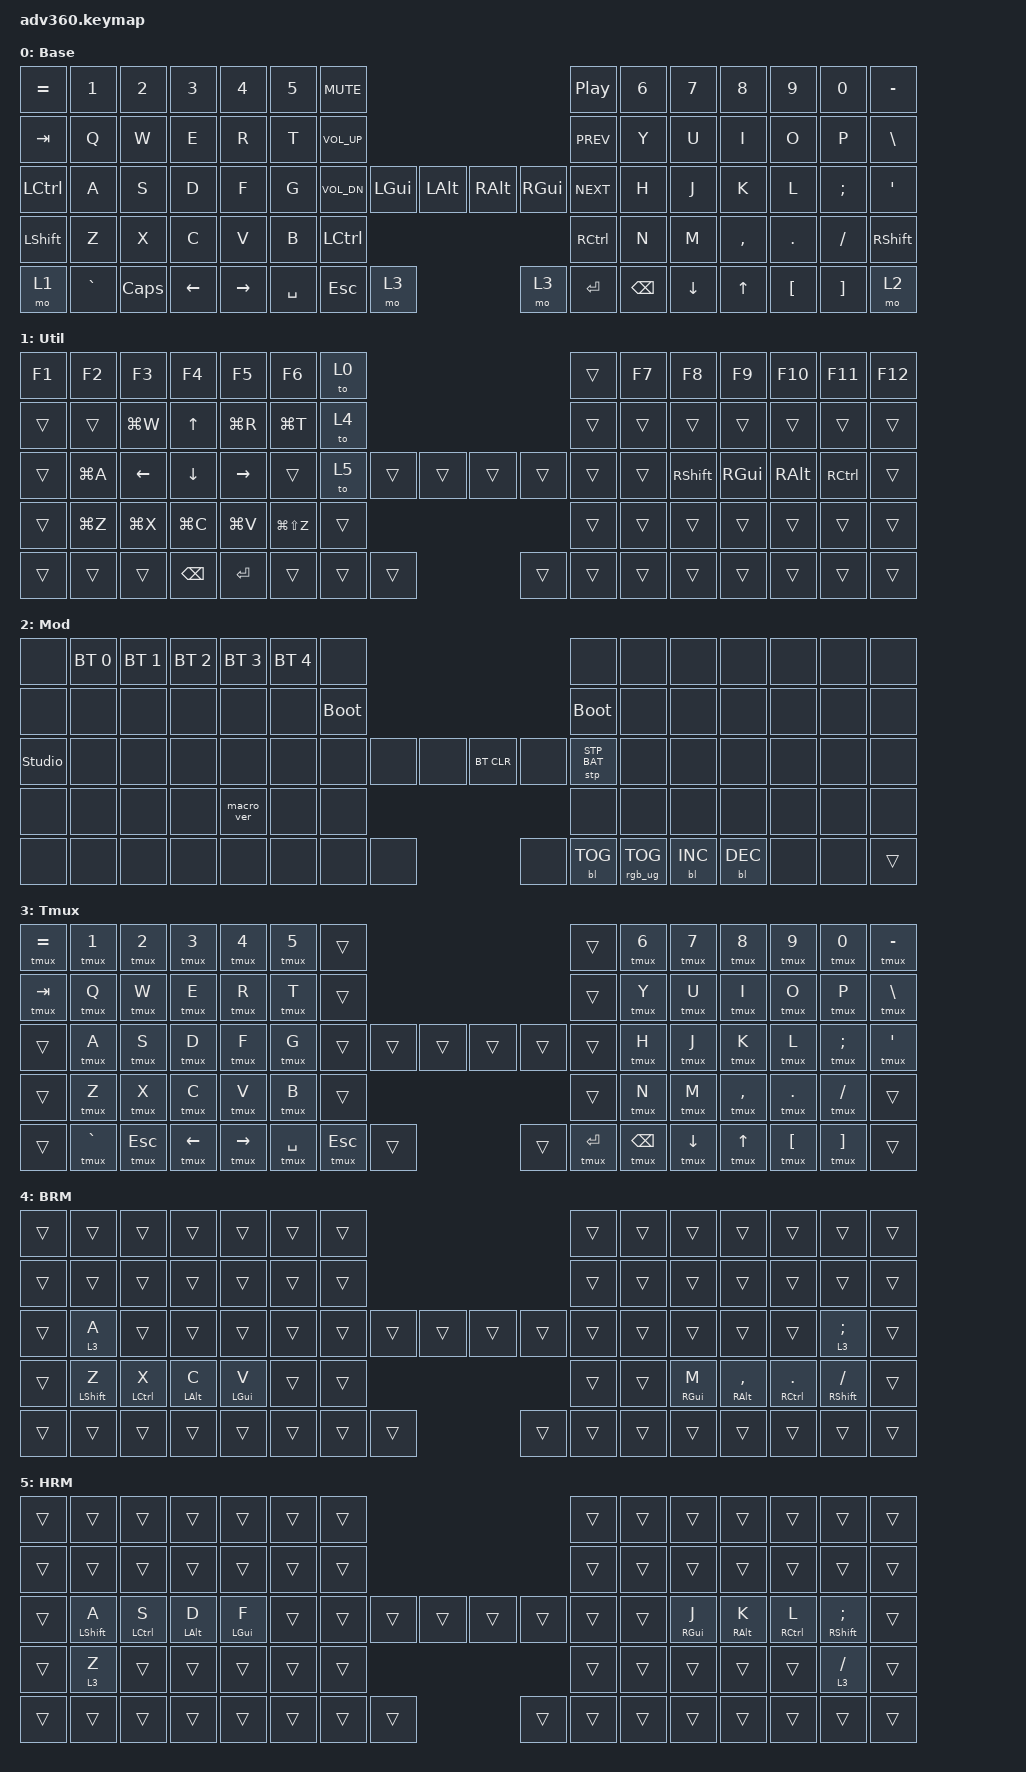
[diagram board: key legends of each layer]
#include <behaviors.dtsi>
#include <dt-bindings/zmk/keys.h>
#include <dt-bindings/zmk/bt.h>
#include <dt-bindings/zmk/rgb.h>
#include <dt-bindings/zmk/stp.h>
#include <dt-bindings/zmk/backlight.h>

/**
 * Key positions, for positional hold-tap. 76 keys, numbered left to right and
 * top to bottom exactly as the bindings below are written.
 *
 * THUMBS is both thumb clusters: the inner middle-cluster keys on rows 3-5.
 * A left-hand mod may only be held against KEYS_R + THUMBS, and vice versa,
 * which is what stops same-hand rolls from turning into modifiers.
 */
#define KEYS_L  0  1  2  3  4  5  6 14 15 16 17 18 19 20 28 29 30 31 32 33 34 \
               46 47 48 49 50 51 60 61 62 63 64
#define KEYS_R  7  8  9 10 11 12 13 21 22 23 24 25 26 27 39 40 41 42 43 44 45 \
               54 55 56 57 58 59 71 72 73 74 75
#define THUMBS 35 36 37 38 52 53 65 66 67 68 69 70

/ {
    behaviors {
      #include "version.dtsi"

      /**
       * Ctrl+A with any physically-held modifiers masked out.
       *
       * Both morph branches are the same key; the morph exists purely for its
       * side effect of masking mods while the morphed binding is held. ZMK
       * builds the HID report as (explicit & ~masked) | implicit, so a held
       * Shift/Alt/Gui is suppressed while LC(A)'s implicit Ctrl still applies.
       * Without this, holding Shift turns the prefix into C-S-a and tmux never
       * sees it.
       */
      /**
       * Tmux layer on a tap-hold. Same timings as the mods, but with NO
       * positional guard: the tmux layer has to reach keys on both hands
       * (C-a c is same-hand from 'a'), and hold-trigger-key-positions would
       * force those into taps.
       *
       * That makes require-prior-idle-ms the only protection, so put this on
       * keys that are quiet in your own data. From the 2026-08-18 recording:
       * 'a' and 'z' misfired 0 times, ';' misfired 3 times per 157 presses
       * (mostly '; ' at end of statement, which would send C-a space), and
       * '/' once per 79. See tools/hrm-tuner/DECISIONS.md.
       */
      ltt: layer_tap_tmux {
        compatible = "zmk,behavior-hold-tap";
        #binding-cells = <2>;
        flavor = "balanced";
        tapping-term-ms = <140>;
        quick-tap-ms = <175>;
        require-prior-idle-ms = <220>;
        bindings = <&mo>, <&kp>;
      };

      tmux_prefix: tmux_prefix {
        compatible = "zmk,behavior-mod-morph";
        #binding-cells = <0>;
        bindings = <&kp LC(A)>, <&kp LC(A)>;
        mods = <(MOD_LCTL|MOD_LSFT|MOD_LALT|MOD_LGUI|MOD_RCTL|MOD_RSFT|MOD_RALT|MOD_RGUI)>;
      };

      /**
       * urob's timeless home row mods. "Home row mods" is the name of the
       * technique, not a claim about the row: the positional guard is
       * "opposite hand plus thumbs" and says nothing about placement, so this
       * one pair of behaviours serves both the HRM and BRM layers.
       *
       * Timings come from tools/hrm-tuner run against a 10,771 keystroke
       * recording of this keyboard's owner. See tools/hrm-tuner/example-report.txt.
       *
       *   tapping-term-ms        140  the searched optimum. Their typing holds
       *                               sit at p95 127 ms and deliberate chord
       *                               holds at p10 166 ms, so 140 falls in the
       *                               gap between the two distributions. Raising
       *                               it to 160 removes the last timeout
       *                               misfires but loses more same-hand chords.
       *   require-prior-idle-ms  220  covers 89% of their key-to-key gaps, so
       *                               a mod only arms after a real pause. This
       *                               is the only thing protecting a cross-hand
       *                               roll; positional hold-tap covers same-hand.
       *   quick-tap-ms           175  covers 86% of their same-key repeats, so
       *                               doubles like 'll' stay letters.
       *
       * flavor = "balanced" fires the hold when another key is pressed AND
       * released while this one is held. hold-trigger-on-release defers the
       * positional check to that key's release, which is what allows same-hand
       * modifier stacking.
       */
      hml: home_row_mod_left {
        compatible = "zmk,behavior-hold-tap";
        #binding-cells = <2>;
        flavor = "balanced";
        tapping-term-ms = <140>;
        quick-tap-ms = <175>;
        require-prior-idle-ms = <220>;
        hold-trigger-key-positions = <KEYS_R THUMBS>;
        hold-trigger-on-release;
        bindings = <&kp>, <&kp>;
      };

      hmr: home_row_mod_right {
        compatible = "zmk,behavior-hold-tap";
        #binding-cells = <2>;
        flavor = "balanced";
        tapping-term-ms = <140>;
        quick-tap-ms = <175>;
        require-prior-idle-ms = <220>;
        hold-trigger-key-positions = <KEYS_L THUMBS>;
        hold-trigger-on-release;
        bindings = <&kp>, <&kp>;
      };
    };

    macros {
      /**
       * tmux prefix: taps Ctrl+A, then the passed key. Works for any keycode,
       * including punctuation (e.g. &tmux LBKT -> C-a [ to enter copy mode).
       * Usage: &tmux N -> C-a n   (hold the layer key + press n repeatedly = C-a n C-a n ...)
       *
       * Held modifiers apply only to the passed key, never to the prefix:
       * Shift + x -> C-a Shift+x
       */
      tmux: tmux {
        compatible = "zmk,behavior-macro-one-param";
        #binding-cells = <1>;
        wait-ms = <5>;
        tap-ms = <5>;
        bindings
            = <&tmux_prefix>
            , <&macro_param_1to1>
            , <&kp MACRO_PLACEHOLDER>;
      };
    };

  keymap {
    compatible = "zmk,keymap";

    /**
     * Layer 0: Base (QWERTY)
     *
     * =     1    2    3    4    5    MUTE                                         PLAY  6    7    8    9    0    -
     * TAB   Q    W    E    R    T    VOL+                                         PREV  Y    U    I    O    P    \
     * CTRL  A    S    D    F    G    VOL-         LGUI  LALT  |  RALT  RGUI       NEXT  H    J    K    L    ;    '
     * SHFT  Z    X    C    V    B                       LCTL  |  RCTL                   N    M    ,    .    /    SHFT
     * Util  `    CAPS ←    →                SPC   ESC   TMUX  |  TMUX  ENT   BSP        ↓    ↑    [    ]    MOD
     */
    default_layer {
      display-name = "Base";
      bindings = <
        &kp EQUAL  &kp N1     &kp N2    &kp N3    &kp N4     &kp N5  &kp C_MUTE                                                                 &kp C_PP    &kp N6    &kp N7  &kp N8     &kp N9    &kp N0    &kp MINUS
        &kp TAB    &kp Q      &kp W     &kp E     &kp R      &kp T   &kp C_VOL_UP                                                               &kp C_PREV  &kp Y     &kp U   &kp I      &kp O     &kp P     &kp BSLH
        &kp LCTRL  &kp A      &kp S     &kp D     &kp F      &kp G   &kp C_VOL_DN               &kp LGUI  &kp LALT  &kp RALT  &kp RGUI          &kp C_NEXT  &kp H     &kp J   &kp K      &kp L     &kp SEMI  &kp SQT
        &kp LSHFT  &kp Z      &kp X     &kp C     &kp V      &kp B                                    &kp LCTRL  &kp RCTRL                                  &kp N     &kp M   &kp COMMA  &kp DOT   &kp FSLH  &kp RSHFT
        &mo 1      &kp GRAVE  &kp CAPS  &kp LEFT  &kp RIGHT                        &kp SPACE  &kp ESC  &mo 3     &mo 3     &kp ENTER  &kp BSPC              &kp DOWN  &kp UP  &kp LBKT   &kp RBKT  &mo 2
      >;
    };

    /**
     * Layer 1: Util — F1-F12; wrt=⌘W/⌘R/⌘T; zxcvb=undo/cut/copy/paste/redo, a=select-all; esdf=arrows; ←/→=bspc/enter; jkl;=right mods
     * MUTE / VOL+ / VOL- switch between the base layer, BRM (4) and HRM (5).
     * These use &to rather than &tog: &to activates one layer and deactivates
     * every other non-default layer, so exactly one of the three is ever live.
     * &tog would let BRM and HRM be on at the same time, which would put mods
     * on both rows at once.
     */
    util {
      display-name = "Util";
      bindings = <
        &kp F1  &kp F2     &kp F3     &kp F4     &kp F5     &kp F6         &to 0                                                  &trans  &kp F7  &kp F8     &kp F9    &kp F10   &kp F11    &kp F12
        &trans  &trans     &kp LG(W)  &kp UP     &kp LG(R)  &kp LG(T)      &to 4                                                  &trans  &trans  &trans     &trans    &trans    &trans     &trans
        &trans  &kp LG(A)  &kp LEFT   &kp DOWN   &kp RIGHT  &trans         &to 5          &trans  &trans  &trans  &trans          &trans  &trans  &kp RSHFT  &kp RGUI  &kp RALT  &kp RCTRL  &trans
        &trans  &kp LG(Z)  &kp LG(X)  &kp LG(C)  &kp LG(V)  &kp LG(LS(Z))                          &trans  &trans                          &trans  &trans     &trans    &trans    &trans     &trans
        &trans  &trans     &trans     &kp BSPC   &kp ENTER                         &trans  &trans  &trans  &trans  &trans  &trans          &trans  &trans     &trans    &trans    &trans
      >;
    };

    /**
     * Layer 2: Mod — BT profiles (1-5), bootloader, BT clear, backlight, RGB, battery
     */
    mod {
      display-name = "Mod";
      bindings = <
        &none           &bt BT_SEL 0  &bt BT_SEL 1  &bt BT_SEL 2  &bt BT_SEL 3  &bt BT_SEL 4  &none                                                   &none         &none  &none       &none       &none  &none  &none
        &none           &none         &none         &none         &none         &none         &bootloader                                             &bootloader   &none  &none       &none       &none  &none  &none
        &studio_unlock  &none         &none         &none         &none         &none         &none        &none  &none     &bt BT_CLR  &none         &stp STP_BAT  &none  &none       &none       &none  &none  &none
        &none           &none         &none         &none         &macro_ver    &none                             &none     &none                                   &none  &none       &none       &none  &none  &none
        &none           &none         &none         &none         &none                             &none  &none  &none     &none       &bl BL_TOG  &rgb_ug RGB_TOG        &bl BL_INC  &bl BL_DEC  &none  &none  &trans
      >;
    };

    /**
     * Layer 3: Tmux — every typing key sends the tmux prefix (Ctrl+A) then itself
     * (e.g. [ -> C-a [ enters copy mode). Modifiers, layer keys, and media keys
     * pass through; held via either inner bottom-row thumb key.
     */
    tmux_layer {
      display-name = "Tmux";
      bindings = <
        &tmux EQUAL  &tmux N1     &tmux N2   &tmux N3    &tmux N4     &tmux N5  &trans                                                      &trans  &tmux N6    &tmux N7  &tmux N8     &tmux N9    &tmux N0    &tmux MINUS
        &tmux TAB    &tmux Q      &tmux W    &tmux E     &tmux R      &tmux T   &trans                                                      &trans  &tmux Y     &tmux U   &tmux I      &tmux O     &tmux P     &tmux BSLH
        &trans       &tmux A      &tmux S    &tmux D     &tmux F      &tmux G   &trans            &trans  &trans  &trans  &trans            &trans  &tmux H     &tmux J   &tmux K      &tmux L     &tmux SEMI  &tmux SQT
        &trans       &tmux Z      &tmux X    &tmux C     &tmux V      &tmux B                            &trans  &trans                             &tmux N     &tmux M   &tmux COMMA  &tmux DOT   &tmux FSLH  &trans
        &trans       &tmux GRAVE  &tmux ESC  &tmux LEFT  &tmux RIGHT        &tmux SPACE  &tmux ESC  &trans  &trans  &tmux ENTER  &tmux BSPC         &tmux DOWN  &tmux UP  &tmux LBKT   &tmux RBKT  &trans
      >;
    };

    /**
     * Layer 4: BRM — bottom row mods. An experiment. Util + VOL+ selects it.
     *
     * Everything is transparent, so this layer IS the base layer plus one
     * change: the bottom row alphas become hold-taps. Keeping it transparent
     * rather than copying the bindings means it tracks any future edit to the
     * base layer for free, and leaves Util reachable so you can switch away.
     *
     * Mods run SCAG outward from the index finger, mirrored:
     *
     *   ...   Z      X      C      V     B                N   M      ,      .      /     ...
     *         LSHFT  LCTRL  LALT   LGUI                       RGUI   RALT   RCTRL  RSHFT
     *
     * Bottom row rather than home row because the recording showed home row
     * misfiring 3.7 per 1000 presses against the bottom row's 1.6, driven
     * almost entirely by ';' and 'l'. Thumb cluster deliberately untouched.
     */
    brm_layer {
      display-name = "BRM";
      bindings = <
        &trans  &trans        &trans        &trans       &trans       &trans  &trans                                                            &trans  &trans  &trans       &trans           &trans          &trans           &trans
        &trans  &trans        &trans        &trans       &trans       &trans  &trans                                                            &trans  &trans  &trans       &trans           &trans          &trans           &trans
        &trans  &ltt 3 A      &trans        &trans       &trans       &trans  &trans              &trans  &trans  &trans  &trans                &trans  &trans  &trans       &trans           &trans          &ltt 3 SEMI      &trans
        &trans  &hml LSHFT Z  &hml LCTRL X  &hml LALT C  &hml LGUI V  &trans                              &trans  &trans                                &trans  &hmr RGUI M  &hmr RALT COMMA  &hmr RCTRL DOT  &hmr RSHFT FSLH  &trans
        &trans  &trans        &trans        &trans       &trans                           &trans  &trans  &trans  &trans  &trans  &trans                &trans  &trans       &trans           &trans          &trans
      >;
    };

    /**
     * Layer 5: HRM — home row mods. The same experiment as BRM, one row up,
     * so the two can be A/B tested against each other. Util + VOL- selects it.
     *
     * Same SCAG order, mirrored, outward from the index finger:
     *
     *   ...   A      S      D      F     G                H   J      K      L      ;     ...
     *         LSHFT  LCTRL  LALT   LGUI                       RGUI   RALT   RCTRL  RSHFT
     *
     * The recording says this is the worse of the two: 3.7 misfires per 1000
     * presses against the bottom row's 1.6, concentrated in ';' and 'l', and
     * 18.6% of keystrokes land on a mod key here versus 12.4%. It exists to
     * confirm that on real hardware rather than in simulation.
     *
     */
    hrm_layer {
      display-name = "HRM";
      bindings = <
        &trans  &trans        &trans        &trans       &trans       &trans  &trans                                                            &trans  &trans  &trans       &trans       &trans        &trans           &trans
        &trans  &trans        &trans        &trans       &trans       &trans  &trans                                                            &trans  &trans  &trans       &trans       &trans        &trans           &trans
        &trans  &hml LSHFT A  &hml LCTRL S  &hml LALT D  &hml LGUI F  &trans  &trans              &trans  &trans  &trans  &trans                &trans  &trans  &hmr RGUI J  &hmr RALT K  &hmr RCTRL L  &hmr RSHFT SEMI  &trans
        &trans  &ltt 3 Z      &trans        &trans       &trans       &trans                              &trans  &trans                                &trans  &trans       &trans       &trans        &ltt 3 FSLH      &trans
        &trans  &trans        &trans        &trans       &trans                           &trans  &trans  &trans  &trans  &trans  &trans                &trans  &trans       &trans       &trans        &trans
      >;
    };
  };
};
